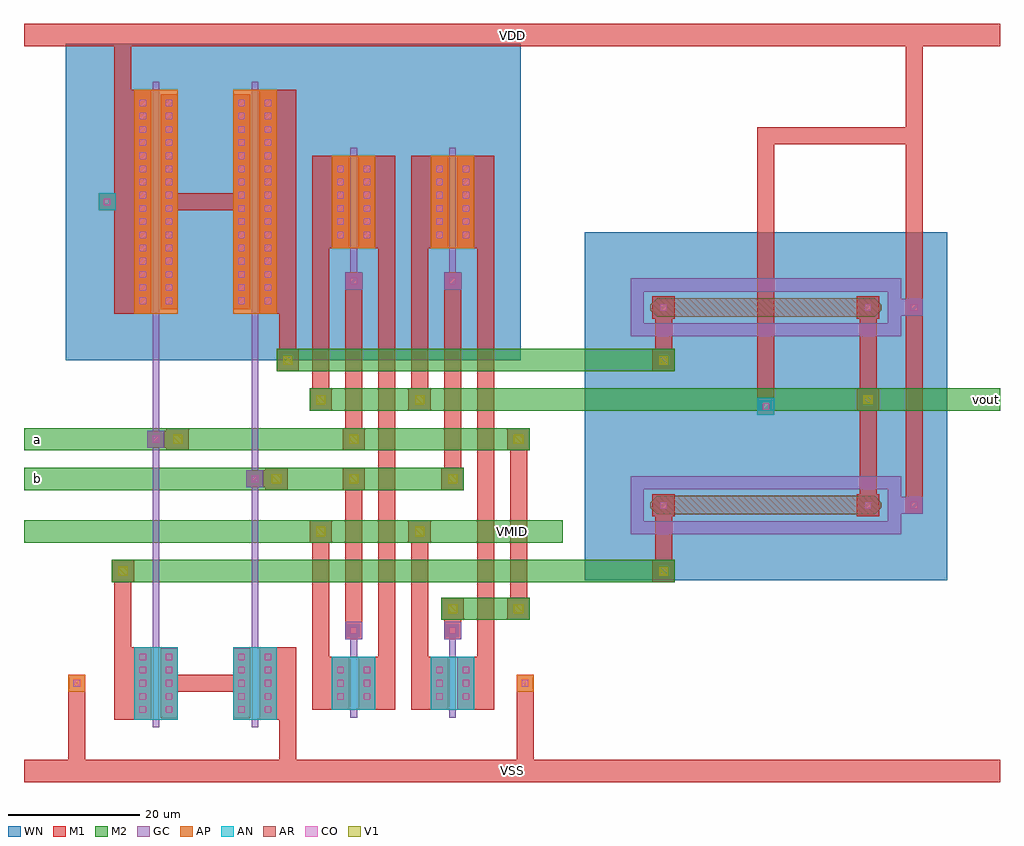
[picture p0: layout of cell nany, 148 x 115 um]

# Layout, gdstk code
import gdstk
lib = gdstk.Library(unit=1e-6, precision=1e-09)
def R(c, l, rs):  # rectangles x0, y0, x1, y1
    for r in rs: c.add(gdstk.rectangle(r[:2], r[2:], *l))
def A(c, l, x, y, w, h, nx, ny, dx, dy):  # array of equal rectangles
    R(c, l, [(x+i*dx, y+j*dy, x+i*dx+w, y+j*dy+h) for i in range(nx) for j in range(ny)])
def P(c, l, *ps):  # polygons
    for p in ps: c.add(gdstk.Polygon(p, *l))
AP = (3, 1)
AN = (3, 2)
AR = (3, 3)
GC = (8, 1)
CO = (11, 0)
M1 = (13, 0)
V1 = (19, 0)
M2 = (20, 0)
WN = (140, 0)

fet_p = lib.new_cell('fet_p')
R(fet_p, AP, [(-3.3,-17,3.3,17)])
A(fet_p, CO, -2.5, -15.5, 1, 1, 1, 16, 0, 2)
A(fet_p, CO, 1.5, -15.5, 1, 1, 1, 16, 0, 2)
R(fet_p, M1, [(-3.3,-16.3,-0.7,16.3), (0.7,-16.3,3.3,16.3)])
fet_p.add(gdstk.FlexPath([(0,-18.2),(0,18.2)], 1, ends="flush", simple_path=True, layer=8, datatype=1))  # GC

fet_p_1 = lib.new_cell('fet_p$1')
R(fet_p_1, AP, [(-3.3,-7,3.3,7)])
A(fet_p_1, CO, -2.5, -5.5, 1, 1, 1, 6, 0, 2)
A(fet_p_1, CO, 1.5, -5.5, 1, 1, 1, 6, 0, 2)
R(fet_p_1, M1, [(-3.3,-6.3,-0.7,6.3), (0.7,-6.3,3.3,6.3)])
fet_p_1.add(gdstk.FlexPath([(0,-8.2),(0,8.2)], 1, ends="flush", simple_path=True, layer=8, datatype=1))  # GC

fet_n = lib.new_cell('fet_n')
R(fet_n, AN, [(-3.3,-5.5,3.3,5.5)])
A(fet_n, CO, -2.5, -4.5, 1, 1, 1, 5, 0, 2)
A(fet_n, CO, 1.5, -4.5, 1, 1, 1, 5, 0, 2)
R(fet_n, M1, [(-3.3,-5.3,-0.7,5.3), (0.7,-5.3,3.3,5.3)])
fet_n.add(gdstk.FlexPath([(0,-6.7),(0,6.7)], 1, ends="flush", simple_path=True, layer=8, datatype=1))  # GC

fet_n_1 = lib.new_cell('fet_n$1')
R(fet_n_1, AN, [(-3.3,-4,3.3,4)])
A(fet_n_1, CO, -2.5, -2.5, 1, 1, 1, 3, 0, 2)
A(fet_n_1, CO, 1.5, -2.5, 1, 1, 1, 3, 0, 2)
R(fet_n_1, M1, [(-3.3,-3.3,-0.7,3.3), (0.7,-3.3,3.3,3.3)])
fet_n_1.add(gdstk.FlexPath([(0,-5.2),(0,5.2)], 1, ends="flush", simple_path=True, layer=8, datatype=1))  # GC

res_diff = lib.new_cell('res_diff')
P(res_diff, AR, [(-16.5,-1.4),(-17.5,-0.4),(-17.5,0.4),(-16.5,1.4),(16.5,1.4),(17.5,0.4),(17.5,-0.4),(16.5,-1.4)])
P(res_diff, GC, [(-20.5,-4.4),(-20.5,2.4),(-18.5,2.4),(-18.5,-2.4),(18.5,-2.4),(18.5,2.4),(-20.5,2.4),(-20.5,4.4),(20.5,4.4),(20.5,-4.4)])
R(res_diff, CO, [(-16,-0.5,-15,0.5), (15,-0.5,16,0.5)])
R(res_diff, M1, [(-17.2,-1.7,-13.8,1.7), (13.8,-1.7,17.2,1.7)])

cont_n = lib.new_cell('cont_n')
R(cont_n, AN, [(-1.3,-1.3,1.3,1.3)])
R(cont_n, CO, [(-0.5,-0.5,0.5,0.5)])
R(cont_n, M1, [(-1.3,-1.3,1.3,1.3)])

cont_p = lib.new_cell('cont_p')
R(cont_p, AP, [(-1.3,-1.3,1.3,1.3)])
R(cont_p, CO, [(-0.5,-0.5,0.5,0.5)])
R(cont_p, M1, [(-1.3,-1.3,1.3,1.3)])

cont_g = lib.new_cell('cont_g')
R(cont_g, GC, [(-1.3,-1.3,1.3,1.3)])
R(cont_g, CO, [(-0.5,-0.5,0.5,0.5)])
R(cont_g, M1, [(-1.3,-1.3,1.3,1.3)])

via_1 = lib.new_cell('via_1')
R(via_1, M1, [(-1.7,-1.7,1.7,1.7)])
R(via_1, V1, [(-0.7,-0.7,0.7,0.7)])
R(via_1, M2, [(-1.7,-1.7,1.7,1.7)])

nany = lib.new_cell('nany')
R(nany, GC, [(19.5,14.5,20.5,88.5), (34.5,14.5,35.5,88.5), (49.5,14.5,50.5,23.5), (64.5,14.5,65.5,23.5), (131.7,40.7,136.3,43.3), (131.7,70.7,136.3,73.3), (49.5,75.5,50.5,88.5), (64.5,75.5,65.5,88.5)])
R(nany, M1, [(0,0,148,3.4), (6.7,0.4,9.3,16.3), (38.7,0.4,41.3,16.3), (74.7,0.4,77.3,16.3), (13.7,9.5,19.3,20.5), (35.7,9.5,41.3,20.5), (43.7,11,49.3,19), (50.7,11,56.3,19), (58.7,11,64.3,19), (65.7,11,71.3,19), (13.7,13.7,19.3,16.3), (13.7,13.7,16.3,33.3), (20.7,13.7,34.3,16.3), (35.7,13.7,41.3,16.3), (43.7,13.7,49.3,16.3), (43.7,13.7,46.3,39.3), (50.7,13.7,56.3,16.3), (53.7,13.7,56.3,89.3), (58.7,13.7,64.3,16.3), (58.7,13.7,61.3,39.3), (65.7,13.7,71.3,16.3), (68.7,13.7,71.3,89.3), (48.7,21.7,51.3,47.3), (48.7,21.7,51.3,24.3), (63.7,21.7,66.3,27.6), (73.7,25,76.3,27.6), (73.7,25,76.3,53.3), (95.7,30.7,98.3,43.3), (95.7,40.7,98.3,43.3), (126.7,40.7,129.3,73.3), (133.7,40.7,136.3,99.3), (33.7,44.7,39.6,47.3), (63.7,44.7,66.3,77.3), (18.7,50.7,24.6,53.3), (48.7,50.7,51.3,77.3), (111.2,55.7,113.8,99.3), (43.7,56.7,46.3,89.3), (58.7,56.7,61.3,89.3), (38.7,62.7,41.3,89.3), (95.7,62.7,98.3,73.3), (95.7,70.7,98.3,73.3), (13.7,71,19.3,105), (35.7,71,41.3,105), (48.7,74.7,51.3,77.3), (63.7,74.7,66.3,77.3), (43.7,81,49.3,95), (50.7,81,56.3,95), (58.7,81,64.3,95), (65.7,81,71.3,95), (11.3,86.7,16.3,89.3), (13.7,86.7,16.3,114.6), (13.7,86.7,19.3,89.3), (20.7,86.7,34.3,89.3), (35.7,86.7,41.3,89.3), (43.7,86.7,49.3,89.3), (50.7,86.7,56.3,89.3), (58.7,86.7,64.3,89.3), (65.7,86.7,71.3,89.3), (111.2,96.7,136.3,99.3), (133.7,96.7,136.3,114.6), (0,111.6,148,115)])
R(nany, M2, [(63.3,24.6,76.7,28), (13.3,30.3,98.7,33.7), (0,36.3,81.7,39.7), (0,44.3,66.7,47.7), (0,50.3,76.7,53.7), (43.3,56.3,148,59.7), (38.3,62.3,98.7,65.7)])
R(nany, WN, [(85,30.6,140,83.4), (6.3,64,75.3,112)])
nany.add(gdstk.Reference(fet_p, (20,88)))
nany.add(gdstk.Reference(fet_p, (35,88)))
nany.add(gdstk.Reference(fet_p_1, (50,88)))
nany.add(gdstk.Reference(fet_p_1, (65,88)))
nany.add(gdstk.Reference(fet_n, (20,15)))
nany.add(gdstk.Reference(fet_n, (35,15)))
nany.add(gdstk.Reference(fet_n_1, (50,15)))
nany.add(gdstk.Reference(fet_n_1, (65,15)))
nany.add(gdstk.Reference(res_diff, (112.5,72)))
nany.add(gdstk.Reference(res_diff, (112.5,42)))
nany.add(gdstk.Reference(cont_n, (12.6,88)))
nany.add(gdstk.Reference(cont_n, (112.5,57)))
nany.add(gdstk.Reference(cont_p, (8,15)))
nany.add(gdstk.Reference(cont_p, (76,15)))
nany.add(gdstk.Reference(cont_g, (135,42)))
nany.add(gdstk.Reference(cont_g, (135,72)))
nany.add(gdstk.Reference(via_1, (40,64)))
nany.add(gdstk.Reference(via_1, (15,32)))
nany.add(gdstk.Reference(via_1, (45,58)))
nany.add(gdstk.Reference(via_1, (45,38)))
nany.add(gdstk.Reference(via_1, (60,58)))
nany.add(gdstk.Reference(via_1, (60,38)))
nany.add(gdstk.Reference(cont_g, (20,52)))
nany.add(gdstk.Reference(via_1, (23.3,52)))
nany.add(gdstk.Reference(cont_g, (35,46)))
nany.add(gdstk.Reference(via_1, (38.3,46)))
nany.add(gdstk.Reference(cont_g, (50,76)))
nany.add(gdstk.Reference(via_1, (50,52)))
nany.add(gdstk.Reference(cont_g, (65,76)))
nany.add(gdstk.Reference(via_1, (65,46)))
nany.add(gdstk.Reference(cont_g, (50,23)))
nany.add(gdstk.Reference(cont_g, (65,23)))
nany.add(gdstk.Reference(via_1, (50,46)))
nany.add(gdstk.Reference(via_1, (65,26.3)))
nany.add(gdstk.Reference(via_1, (75,26.3)))
nany.add(gdstk.Reference(via_1, (75,52)))
nany.add(gdstk.Reference(via_1, (97,64)))
nany.add(gdstk.Reference(via_1, (97,32)))
nany.add(gdstk.Reference(via_1, (128,58)))
nany.add(gdstk.Label('a', (2,52), layer=49, texttype=0))
nany.add(gdstk.Label('b', (2,46), layer=49, texttype=0))
nany.add(gdstk.Label('vout', (146,58), layer=49, texttype=0))
nany.add(gdstk.Label('VMID', (74,38), layer=49, texttype=0))
nany.add(gdstk.Label('VDD', (74,113.3), layer=48, texttype=0))
nany.add(gdstk.Label('VSS', (74,1.7), layer=48, texttype=0))

lib.write_gds('nany.gds')
